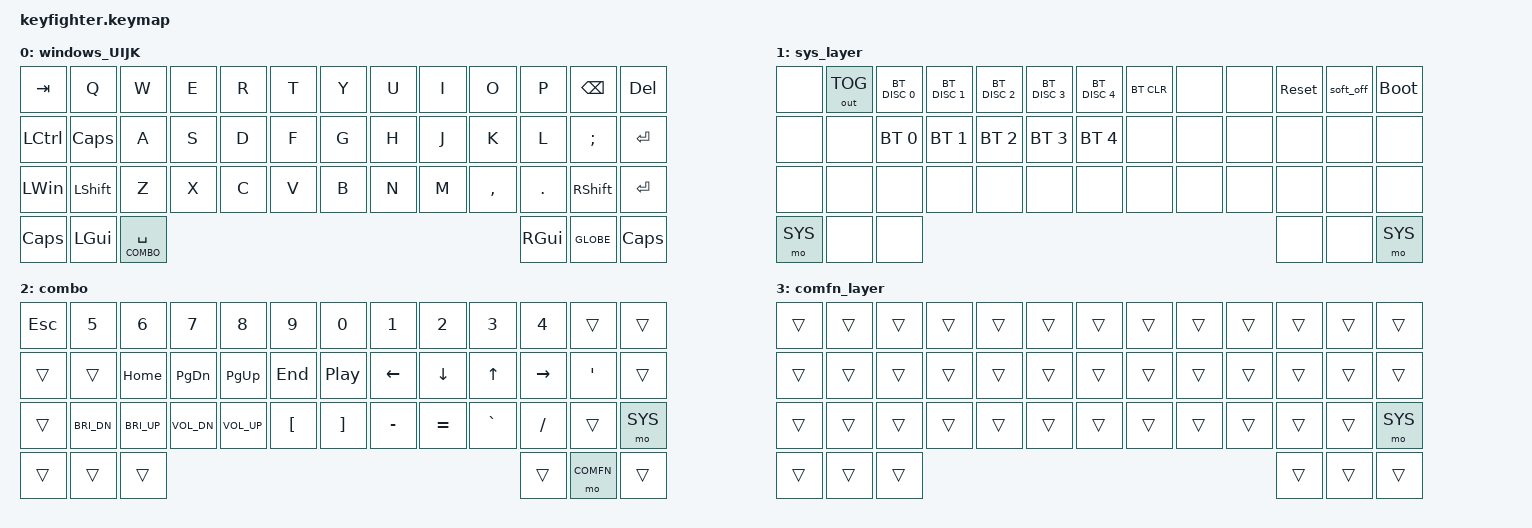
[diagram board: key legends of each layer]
#include <behaviors.dtsi>
#include <dt-bindings/zmk/keys.h>
#include <dt-bindings/zmk/bt.h>
#include <dt-bindings/zmk/outputs.h>

#define WIN     0
#define SYS     1
#define COMBO   2
#define COMFN   3
/ {
    keymap {
        compatible = "zmk,keymap";
        
        windows_UIJK {
            bindings = <
                &kp TAB     &kp Q       &kp W   &kp E   &kp R   &kp T   &kp Y   &kp U   &kp I   &kp O       &kp P       &kp BSPC        &kp DEL
                &kp LCTRL   &kp CAPS    &kp A   &kp S   &kp D   &kp F   &kp G   &kp H   &kp J   &kp K       &kp L       &kp SEMICOLON   &kp ENTER
                &kp LWIN    &kp LSHIFT  &kp Z   &kp X   &kp C   &kp V   &kp B   &kp N   &kp M   &kp COMMA   &kp PERIOD  &kp RSHIFT      &kp ENTER
                &kp CAPS    &kp LGUI                                    &lt COMBO SPACE                       &kp RGUI    &kp GLOBE       &kp CAPS
            >;
        };

        sys_layer {
            bindings = <
                &none       &out OUT_TOG     &bt BT_DISC 0    &bt BT_DISC 1    &bt BT_DISC 2    &bt BT_DISC 3    &bt BT_DISC 4  &bt BT_CLR  &none       &none         &sys_reset  &soft_off   &bootloader     
                &none       &none            &bt BT_SEL 0     &bt BT_SEL 1     &bt BT_SEL 2     &bt BT_SEL 3     &bt BT_SEL 4   &none       &none       &none         &none       &none       &none        
                &none       &none            &none            &none            &none            &none            &none          &none       &none       &none         &none       &none       &none
                &mo SYS     &none                                                               &none                                                   &none         &none                   &mo SYS
            >;
        };

        combo {
            bindings = <
                &kp ESC     &kp N5      &kp N6      &kp N7      &kp N8      &kp N9      &kp N0      &kp N1      &kp N2      &kp N3      &kp N4      &trans          &trans
                &trans      &trans      &kp HOME    &kp PG_DN   &kp PG_UP   &kp END     &kp C_PP    &kp LEFT    &kp DOWN    &kp UP      &kp RIGHT   &kp APOS        &trans
                &trans      &kp C_BRI_DN &kp C_BRI_UP &kp C_VOL_DN &kp C_VOL_UP &kp LBKT    &kp RBKT   &kp MINUS   &kp EQUAL   &kp GRAVE   &kp FSLH    &trans          &mo SYS
                &trans      &trans                                          &trans                                                      &trans      &mo COMFN       &trans
            >;
        };

        comfn_layer {
            bindings = <
                &trans      &trans      &trans      &trans      &trans      &trans      &trans      &trans      &trans      &trans      &trans      &trans          &trans
                &trans      &trans      &trans      &trans      &trans      &trans      &trans      &trans      &trans      &trans      &trans      &trans          &trans
                &trans      &trans      &trans      &trans      &trans      &trans      &trans      &trans      &trans      &trans      &trans      &trans          &mo SYS
                &trans      &trans                                          &trans                                                      &trans      &trans          &trans
            >;
        };
   };
};
